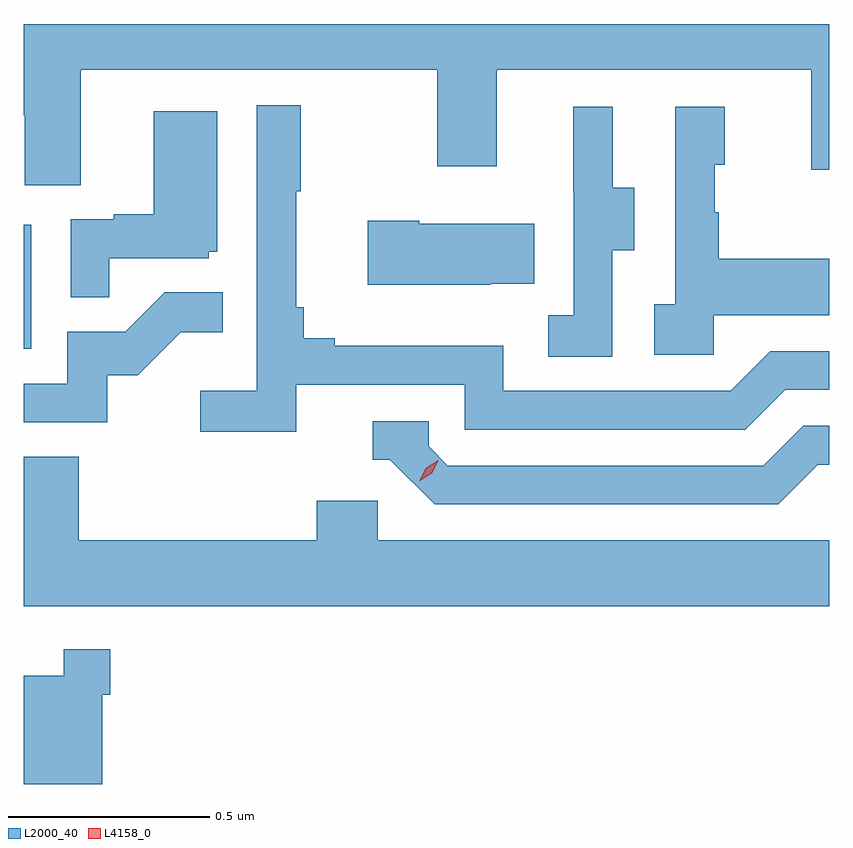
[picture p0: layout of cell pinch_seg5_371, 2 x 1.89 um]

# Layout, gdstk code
import gdstk
lib = gdstk.Library(unit=1e-6, precision=1e-09)
def R(c, l, rs):  # rectangles x0, y0, x1, y1
    for r in rs: c.add(gdstk.rectangle(r[:2], r[2:], *l))
def P(c, l, *ps):  # polygons
    for p in ps: c.add(gdstk.Polygon(p, *l))
L2000_40 = (2000, 40)
L4158_0 = (4158, 0)

pinch_seg5_371 = lib.new_cell('pinch_seg5_371')
R(pinch_seg5_371, L2000_40, [(1012.395,888.036,1012.414,888.343)])
P(pinch_seg5_371, L2000_40, [(1012.537,888.728),(1013.422,888.728),(1013.422,888.489),(1013.569,888.489),(1013.569,888.728),(1014.35,888.728),(1014.35,888.48),(1014.395,888.48),(1014.395,888.842),(1012.395,888.842),(1012.395,888.616),(1012.397,888.616),(1012.397,888.442),(1012.537,888.442)],
  [(1013.072,887.946),(1013.49,887.946),(1013.49,887.835),(1014.187,887.835),(1014.286,887.934),(1014.395,887.934),(1014.395,888.03),(1014.249,888.03),(1014.15,887.931),(1013.586,887.931),(1013.586,888.043),(1013.167,888.043),(1013.167,888.062),(1013.09,888.062),(1013.09,888.139),(1013.071,888.139),(1013.071,888.427),(1013.083,888.427),(1013.083,888.64),(1012.974,888.64),(1012.974,887.932),(1012.833,887.932),(1012.833,887.83),(1013.072,887.83)],
  [(1013.856,888.28),(1013.911,888.28),(1013.911,888.435),(1013.857,888.435),(1013.857,888.637),(1013.759,888.637),(1013.759,888.423),(1013.76,888.423),(1013.76,888.119),(1013.697,888.119),(1013.697,888.016),(1013.856,888.016)],
  [(1014.108,888.119),(1014.395,888.119),(1014.395,888.259),(1014.121,888.259),(1014.121,888.374),(1014.111,888.374),(1014.111,888.492),(1014.136,888.492),(1014.136,888.637),(1014.012,888.637),(1014.012,888.146),(1013.961,888.146),(1013.961,888.021),(1014.108,888.021)],
  [(1012.607,888.261),(1012.854,888.261),(1012.854,888.276),(1012.876,888.276),(1012.876,888.625),(1012.718,888.625),(1012.718,888.37),(1012.619,888.37),(1012.619,888.357),(1012.512,888.357),(1012.512,888.163),(1012.607,888.163)],
  [(1013.555,888.197),(1013.663,888.197),(1013.663,888.346),(1013.377,888.346),(1013.377,888.354),(1013.249,888.354),(1013.249,888.194),(1013.555,888.194)],
  [(1012.602,887.97),(1012.678,887.97),(1012.785,888.077),(1012.889,888.077),(1012.889,888.176),(1012.745,888.176),(1012.647,888.078),(1012.503,888.078),(1012.503,887.949),(1012.395,887.949),(1012.395,887.853),(1012.602,887.853)],
  [(1014.367,887.748),(1014.395,887.748),(1014.395,887.844),(1014.33,887.844),(1014.231,887.745),(1013.448,887.745),(1013.4,887.793),(1013.4,887.856),(1013.261,887.856),(1013.261,887.76),(1013.304,887.76),(1013.415,887.649),(1014.268,887.649)],
  [(1014.395,887.56),(1013.274,887.56),(1013.274,887.658),(1013.123,887.658),(1013.123,887.56),(1012.532,887.56),(1012.532,887.768),(1012.395,887.768),(1012.395,887.396),(1014.395,887.396)],
  [(1012.59,887.177),(1012.61,887.177),(1012.61,887.29),(1012.494,887.29),(1012.494,887.224),(1012.395,887.224),(1012.395,886.955),(1012.59,886.955)])
P(pinch_seg5_371, L4158_0, [(1013.377,887.707),(1013.377,887.707),(1013.393,887.739),(1013.424,887.759),(1013.424,887.759),(1013.424,887.758),(1013.408,887.726),(1013.377,887.707)])

lib.write_gds('pinch_seg5_371.gds')
